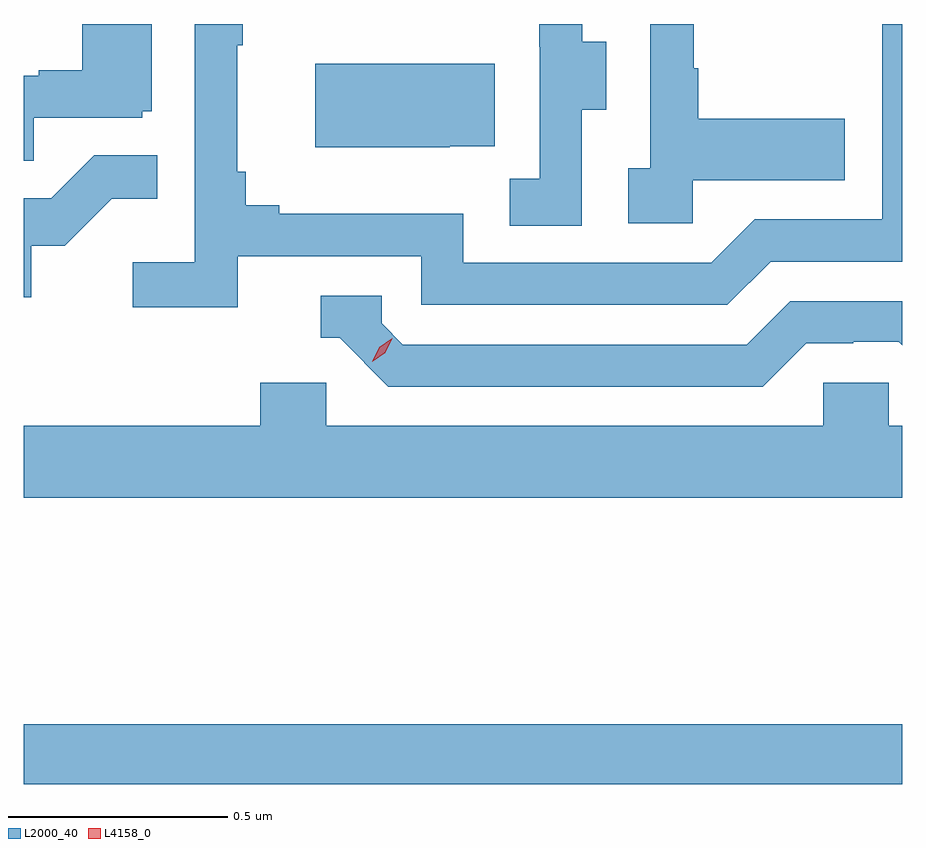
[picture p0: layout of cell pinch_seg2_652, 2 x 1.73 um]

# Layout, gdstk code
import gdstk
lib = gdstk.Library(unit=1e-6, precision=1e-09)
def R(c, l, rs):  # rectangles x0, y0, x1, y1
    for r in rs: c.add(gdstk.rectangle(r[:2], r[2:], *l))
def P(c, l, *ps):  # polygons
    for p in ps: c.add(gdstk.Polygon(p, *l))
L2000_40 = (2000, 40)
L4158_0 = (4158, 0)

pinch_seg2_652 = lib.new_cell('pinch_seg2_652')
R(pinch_seg2_652, L2000_40, [(1054.321,593.704,1056.321,593.84)])
P(pinch_seg2_652, L2000_40, [(1055.844,595.079),(1056.191,595.079),(1056.191,595.219),(1055.857,595.219),(1055.857,595.334),(1055.847,595.334),(1055.847,595.435),(1055.748,595.435),(1055.748,595.106),(1055.697,595.106),(1055.697,594.981),(1055.844,594.981)],
  [(1054.343,595.221),(1054.59,595.221),(1054.59,595.236),(1054.612,595.236),(1054.612,595.435),(1054.454,595.435),(1054.454,595.33),(1054.355,595.33),(1054.355,595.317),(1054.321,595.317),(1054.321,595.123),(1054.343,595.123)],
  [(1055.592,595.24),(1055.647,595.24),(1055.647,595.395),(1055.593,595.395),(1055.593,595.435),(1055.495,595.435),(1055.495,595.383),(1055.496,595.383),(1055.496,595.083),(1055.427,595.083),(1055.427,594.976),(1055.592,594.976)],
  [(1054.808,594.906),(1055.226,594.906),(1055.226,594.795),(1055.923,594.795),(1056.022,594.894),(1056.321,594.894),(1056.321,595.435),(1056.276,595.435),(1056.276,594.99),(1055.985,594.99),(1055.886,594.891),(1055.322,594.891),(1055.322,595.003),(1054.903,595.003),(1054.903,595.022),(1054.826,595.022),(1054.826,595.099),(1054.807,595.099),(1054.807,595.387),(1054.819,595.387),(1054.819,595.435),(1054.71,595.435),(1054.71,594.892),(1054.569,594.892),(1054.569,594.79),(1054.808,594.79)],
  [(1055.291,595.157),(1055.393,595.157),(1055.393,595.345),(1054.985,595.345),(1054.985,595.154),(1055.291,595.154)],
  [(1054.338,594.93),(1054.414,594.93),(1054.521,595.037),(1054.625,595.037),(1054.625,595.136),(1054.481,595.136),(1054.383,595.038),(1054.321,595.038),(1054.321,594.813),(1054.338,594.813)],
  [(1056.103,594.708),(1056.21,594.708),(1056.21,594.711),(1056.313,594.711),(1056.321,594.703),(1056.321,594.804),(1056.066,594.804),(1055.967,594.705),(1055.184,594.705),(1055.136,594.753),(1055.136,594.816),(1054.997,594.816),(1054.997,594.72),(1055.04,594.72),(1055.151,594.609),(1056.004,594.609)],
  [(1056.321,594.52),(1056.291,594.52),(1056.291,594.618),(1056.141,594.618),(1056.141,594.52),(1055.01,594.52),(1055.01,594.618),(1054.859,594.618),(1054.859,594.52),(1054.321,594.52),(1054.321,594.356),(1056.321,594.356)])
P(pinch_seg2_652, L4158_0, [(1055.114,594.666),(1055.114,594.666),(1055.13,594.699),(1055.16,594.719),(1055.16,594.719),(1055.16,594.718),(1055.144,594.686),(1055.114,594.666)])

lib.write_gds('pinch_seg2_652.gds')
